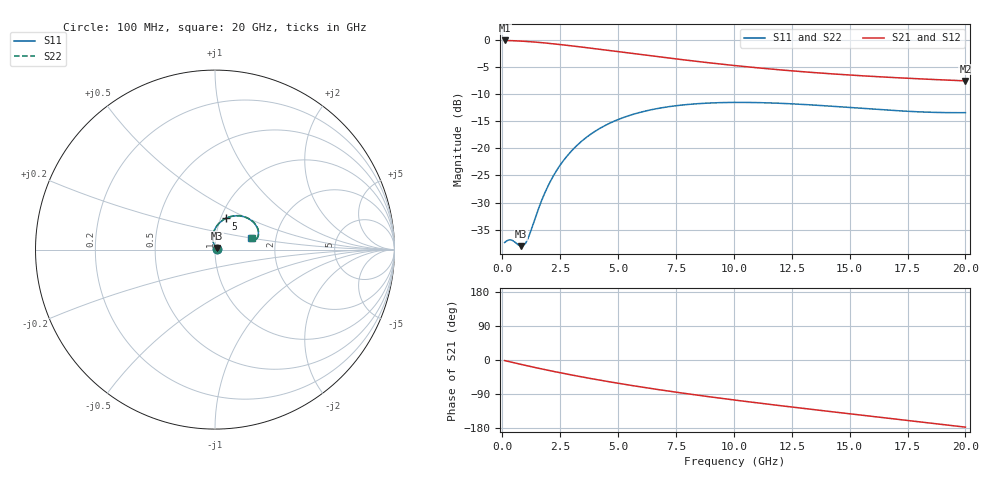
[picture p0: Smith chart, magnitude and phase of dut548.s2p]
! Touchstone file exported from HFSS 2024.1.0
!  File:  C:/UserFiles/LocalFiles/RDL_TSV_Batchsim/temp_RDL_TSV_548_1779748896.aedt
!  Generated:  06:57:30 AM May 26, 2026
!  Design:  RDL_TSV
!  Project:  temp_RDL_TSV_548_1779748896
!  Setup:  Setup1
!  Solution:  Sweep
! Variables:
!  dtsv = 7.79um
!  hbump = 3um
!  htsv = 71.25um
!  ldown = 461.49um
!  lrdl = 300.99um
!  p = 40
!  p1 = 40.96um
!  rhole = 10um
!  subl = 2588.43um
!  t = 450um
!  tdown = 4.33um
!  trdl = 3.37um
!  viad = 10um
!  wdown = 14.47um
!  wrdl = 29.09um
!  xbump = 18um
# GHz S MA R 50.000000
! Terminal data exported
! Port[1] = TM1_1_T1
! Port[2] = TM1_4_T1
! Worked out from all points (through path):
!   200 points, 100 MHz to 20 GHz, reference 50 ohm
!   highest |S21| = -0.12 dB at 100 MHz (marker M1); lowest = -7.6 dB at 20 GHz (marker M2)
!   group delay of S21, straight-line fit = 23.4 ps
!   lowest |S11| = -38.0 dB at 800 MHz (marker M3), VSWR 1.03, Z = 50.9 + j0.868 ohm
!   |S11| at or under -10 dB: start of sweep to end of sweep
!   |S22| runs from -38.1 to -11.5 dB; largest |S21 - S12| = 9.8e-15
!   S11 on the Smith chart (normalised r, x): 100 MHz: 1.03, +0.00; 5 GHz: 1.06, +0.38; 20 GHz: 1.49, +0.21
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0.1  0.01353 6.8  0.9863 -1.5  0.9863 -1.5  0.01353 6.8
! Gamma 0 0 0 0
! Port Impedance 50 0 50 0
0.3  0.01433 14.9  0.9836 -4.4  0.9836 -4.4  0.01433 15.0
0.4  0.01425 18.1  0.9819 -5.8  0.9819 -5.8  0.01425 18.1
0.8  0.01252 42.9  0.9732 -11.4  0.9732 -11.4  0.01251 43.0
0.9  0.01261 53.1  0.9704 -12.8  0.9704 -12.8  0.0126 53.3
1  0.01327 63.9  0.9675 -14.2  0.9675 -14.2  0.01327 64.2
1.1  0.01459 74.0  0.9643 -15.6  0.9643 -15.6  0.0146 74.3
1.7  0.03304 101.4  0.9413 -23.6  0.9413 -23.6  0.03314 101.6
1.9  0.04153 102.8  0.9326 -26.2  0.9326 -26.2  0.04167 103.0
2.2  0.05537 102.3  0.9187 -30.0  0.9187 -30.0  0.05556 102.4
2.8  0.08502 97.0  0.8893 -37.2  0.8893 -37.2  0.08532 97.2
3.5  0.1198 88.7  0.8538 -45.3  0.8538 -45.3  0.1202 88.8
4.2  0.152 80.1  0.8184 -53.0  0.8184 -53.0  0.1526 80.2
5  0.184 70.8  0.7786 -61.4  0.7786 -61.4  0.1847 70.9
5.8  0.2101 62.3  0.7405 -69.3  0.7405 -69.3  0.211 62.4
6.8  0.2346 52.8  0.6958 -78.6  0.6958 -78.6  0.2356 52.9
8.4  0.2574 40.2  0.6325 -92.5  0.6325 -92.5  0.2586 40.4
10.1  0.2649 29.9  0.5771 -106.2  0.5771 -106.2  0.2663 30.0
11.7  0.2613 22.6  0.5352 -118.2  0.5352 -118.2  0.2628 22.7
13.4  0.2507 17.2  0.4999 -130.6  0.4999 -130.6  0.2523 17.3
16.7  0.2244 13.7  0.4511 -153.9  0.4511 -153.9  0.2261 13.8
20  0.213 18.2  0.4183 -177.2  0.4183 -177.2  0.2146 18.1
